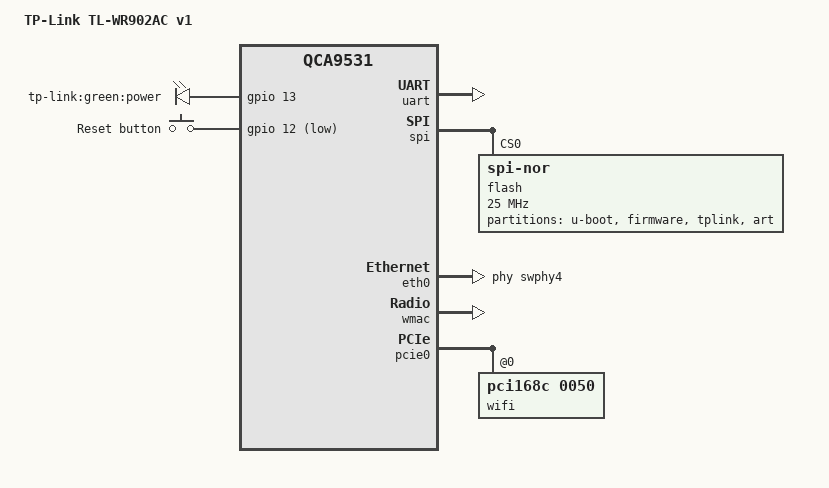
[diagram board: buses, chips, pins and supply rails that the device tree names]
// SPDX-License-Identifier: GPL-2.0-or-later OR MIT
/dts-v1/;

#include <dt-bindings/gpio/gpio.h>
#include <dt-bindings/input/input.h>

#include "qca953x.dtsi"

/ {
	compatible = "tplink,tl-wr902ac-v1", "qca,qca9531";
	model = "TP-Link TL-WR902AC v1";

	aliases {
		led-boot = &led_power;
		led-failsafe = &led_power;
		led-running = &led_power;
		led-upgrade = &led_power;
		label-mac-device = &wmac;
	};

	leds {
		compatible = "gpio-leds";

		led_power: power {
			label = "tp-link:green:power";
			gpios = <&gpio 13 GPIO_ACTIVE_HIGH>;
			default-state = "on";
		};

		
	};

	keys {
		compatible = "gpio-keys";

		reset {
			label = "Reset button";
			linux,code = <KEY_RESTART>;
			gpios = <&gpio 12 GPIO_ACTIVE_LOW>;
		};

		
	};
	
};

&uart {
	status = "okay";
};

&spi {
	status = "okay";

	flash@0 {
		compatible = "jedec,spi-nor";
		reg = <0>;
		spi-max-frequency = <25000000>;

		partitions {
			compatible = "fixed-partitions";
			#address-cells = <1>;
			#size-cells = <1>;

			partition@0 {
				label = "u-boot";
				reg = <0x000000 0x020000>;
				read-only;
			};

			partition@20000 {
				compatible = "tplink,firmware";
				label = "firmware";
				reg = <0x020000 0x730000>;
			};

			tplink: partition@750000 {
				label = "tplink";
				reg = <0x750000 0x0a0000>;
				read-only;
			};

			art: partition@7f0000 {
				label = "art";
				reg = <0x7f0000 0x010000>;
				read-only;
			};
		};
	};
};

&eth1 {
	mtd-mac-address = <&art 0x8>;
};

&eth0 {
	status = "okay";
	phy-handle = <&swphy4>;
	mtd-mac-address = <&art 0x8>;
	mtd-mac-address-increment = <1>;
	};

&wmac {
	status = "okay";

	mtd-cal-data = <&art 0x1000>;
	mtd-mac-address = <&art 0x8>;
	mtd-mac-address-increment = <2>;
};

&pcie0 {
	status = "okay";

	wifi@0,0 {
		compatible = "pci168c,0050";
		reg = <0x0000 0 0 0 0>;
	};
};
